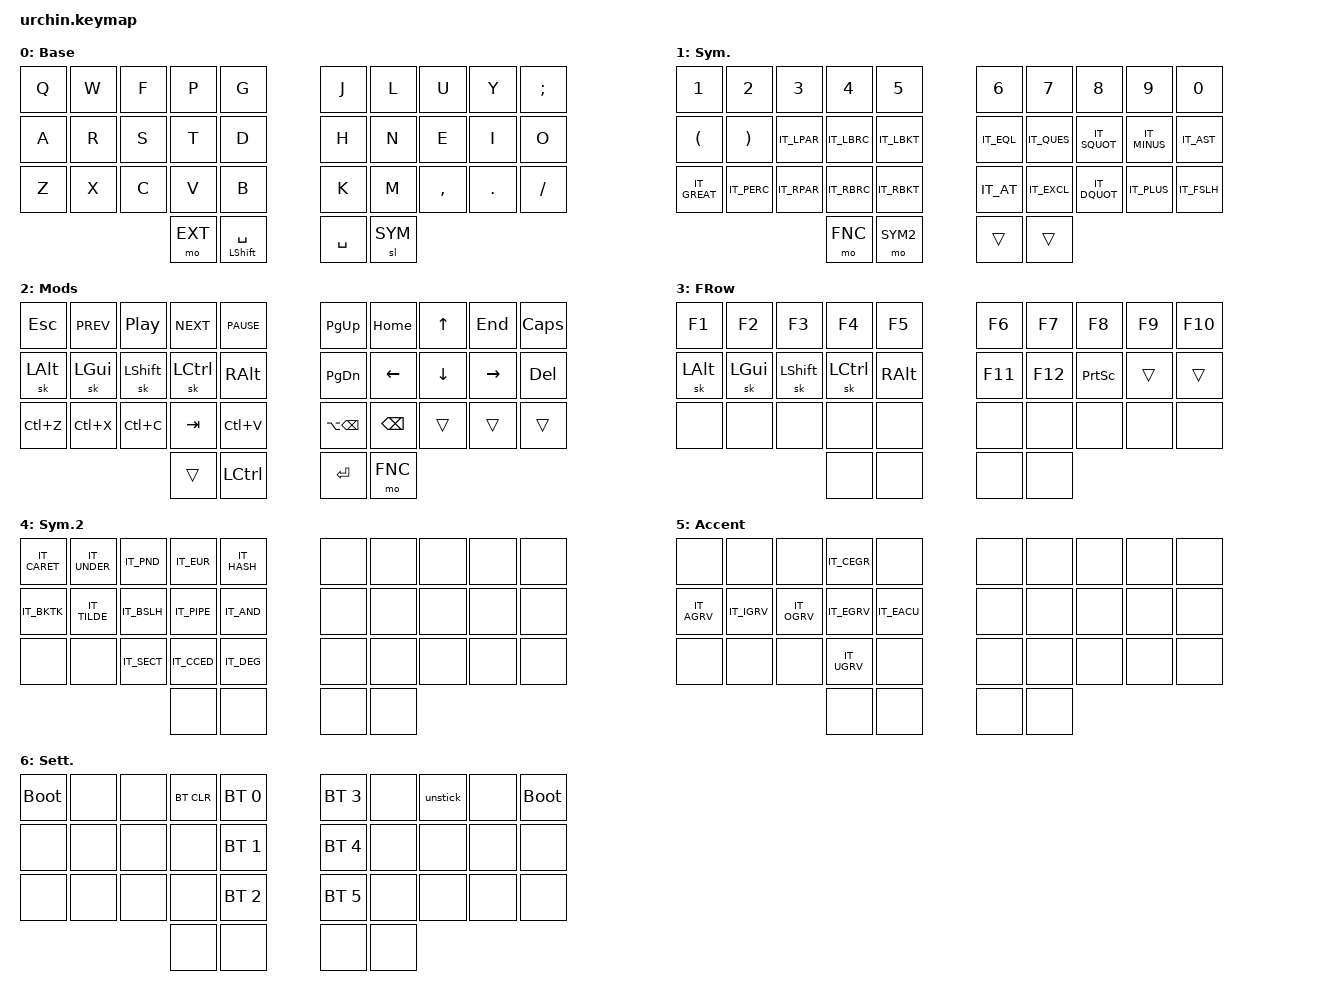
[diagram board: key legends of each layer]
/*
 * Copyright (c) 2020 duckyb
 *
 * SPDX-License-Identifier: MIT
 */

#include "keymap_italian.h"
#include <behaviors.dtsi>
#include <dt-bindings/zmk/bt.h>
#include <dt-bindings/zmk/keys.h>

// Layer definitions

#define BASE 0
#define SYM 1
#define EXT 2
#define FNC 3
#define SYM2 4
#define ACCENT 5
#define SETTINGS 6

// -----------------

&sk {
    // don't release mods on other mods presses

    ignore-modifiers;
};

/ {
    behaviors {
        // Enables holding the first mod-tap key
        // by performing a tap-release-hold sequence.
        // To use it: "&qt KEYCODE1 KEYCODE2"

        qt: quick_tap {
            compatible = "zmk,behavior-hold-tap";
            label = "QUICK_TAP";
            #binding-cells = <2>;
            flavor = "hold-preferred";
            tapping-term-ms = <200>;
            quick-tap-ms = <200>;
            bindings = <&kp>, <&kp>;
        };
    };

    macros {
        // sometimes my device thinks a modifier is being held down
        // pressing all modifiers fixes it.

        unstick: unstick {
            label = "ZM_unstick";
            compatible = "zmk,behavior-macro";
            #binding-cells = <0>;
            bindings = <&kp LSHIFT &kp RSHIFT &kp LCTRL &kp RCTRL &kp LALT &kp RALT &kp LGUI &kp RGUI>;
        };
    };

    combos {
        compatible = "zmk,combos";

        // both right thumb keys

        combo_accent {
            timeout-ms = <200>;
            key-positions = <32 33>;
            bindings = <&mo ACCENT>;
        };

        // internal-left & external-right thumb keys

        combo_sym2 {
            timeout-ms = <200>;
            key-positions = <31 33>;
            bindings = <&mo SYM2>;
        };

        // both left thumb keys

        combo_settings {
            timeout-ms = <200>;
            key-positions = <30 31>;
            bindings = <&mo SETTINGS>;
        };

        // left index & middle fingers (home-row)
        // hold control & space for Adobe workflow

        combo_ctrl_space {
            timeout-ms = <200>;
            key-positions = <12 13>;
            bindings = <&kp LC(SPACE)>;
            layers = <BASE>;
        };

        Enter {
            bindings = <&kp ENTER>;
            key-positions = <13 16>;
        };
    };

    keymap {
        compatible = "zmk,keymap";

        // Base alpha layer

        default_layer {
            label = "Base";
            bindings = <
&kp Q    &kp W    &kp F    &kp P      &kp G               &kp J        &kp L      &kp U        &kp Y      &kp SEMICOLON
&kp A    &kp R    &kp S    &kp T      &kp D               &kp H        &kp N      &kp E        &kp I      &kp O
&kp Z    &kp X    &kp C    &kp V      &kp B               &kp K        &kp M      &kp COMMA    &kp DOT    &kp SLASH
                           &mo EXT    &qt LSHIFT SPACE    &kp SPACE    &sl SYM
            >;
        };

        // Numbers and high frequency symbols

        sym_layer {
            label = "Sym.";
            bindings = <
&kp N1          &kp N2         &kp N3         &kp N4         &kp N5         &kp N6        &kp N7         &kp N8          &kp N9          &kp N0
&kp LPAR        &kp RPAR       &kp IT_LPAR    &kp IT_LBRC    &kp IT_LBKT    &kp IT_EQL    &kp IT_QUES    &kp IT_SQUOT    &kp IT_MINUS    &kp IT_AST
&kp IT_GREAT    &kp IT_PERC    &kp IT_RPAR    &kp IT_RBRC    &kp IT_RBKT    &kp IT_AT     &kp IT_EXCL    &kp IT_DQUOT    &kp IT_PLUS     &kp IT_FSLH
                                              &mo FNC        &mo SYM2       &trans        &trans
            >;
        };

        // Main modifiers and arrow keys

        ext_layer {
            label = "Mods";
            bindings = <
&kp ESC      &kp C_PREV    &kp C_PP      &kp C_NEXT    &kp C_PAUSE    &kp PG_UP       &kp HOME    &kp UP      &kp END      &kp CAPSLOCK
&sk LALT     &sk LGUI      &sk LSHIFT    &sk LCTRL     &kp RALT       &kp PG_DN       &kp LEFT    &kp DOWN    &kp RIGHT    &kp DEL
&kp LC(Z)    &kp LC(X)     &kp LC(C)     &kp TAB       &kp LC(V)      &kp LA(BSPC)    &kp BSPC    &trans      &trans       &trans
                                         &trans        &kp LCTRL      &kp ENTER       &mo FNC
            >;
        };

        // Function keys with modifiers

        fnc_layer {
            label = "FRow";
            bindings = <
&kp F1      &kp F2      &kp F3        &kp F4       &kp F5      &kp F6     &kp F7     &kp F8             &kp F9    &kp F10
&sk LALT    &sk LGUI    &sk LSHIFT    &sk LCTRL    &kp RALT    &kp F11    &kp F12    &kp PRINTSCREEN    &trans    &trans
&none       &none       &none         &none        &none       &none      &none      &none              &none     &none
                                      &none        &none       &none      &none
            >;
        };

        // Low frequency symbols.

        symbols_2_layer {
            label = "Sym.2";
            bindings = <
&kp IT_CARET    &kp IT_UNDER    &kp IT_PND     &kp IT_EUR     &kp IT_HASH    &none    &none    &none    &none    &none
&kp IT_BKTK     &kp IT_TILDE    &kp IT_BSLH    &kp IT_PIPE    &kp IT_AND     &none    &none    &none    &none    &none
&none           &none           &kp IT_SECT    &kp IT_CCED    &kp IT_DEG     &none    &none    &none    &none    &none
                                               &none          &none          &none    &none
            >;
        };

        // Used to type regional accents.

        accent_layer {
            label = "Accent";
            bindings = <
&none          &none          &none          &kp IT_CEGR    &none          &none    &none    &none    &none    &none
&kp IT_AGRV    &kp IT_IGRV    &kp IT_OGRV    &kp IT_EGRV    &kp IT_EACU    &none    &none    &none    &none    &none
&none          &none          &none          &kp IT_UGRV    &none          &none    &none    &none    &none    &none
                                             &none          &none          &none    &none
            >;
        };

        // Used to change the keyboard's settings.

        settings_layer {
            label = "Sett.";
            bindings = <
&bootloader    &none    &none    &bt BT_CLR    &bt BT_SEL 0    &bt BT_SEL 3    &none    &unstick    &none    &bootloader
&none          &none    &none    &none         &bt BT_SEL 1    &bt BT_SEL 4    &none    &none       &none    &none
&none          &none    &none    &none         &bt BT_SEL 2    &bt BT_SEL 5    &none    &none       &none    &none
                                 &none         &none           &none           &none
            >;
        };
    };
};
